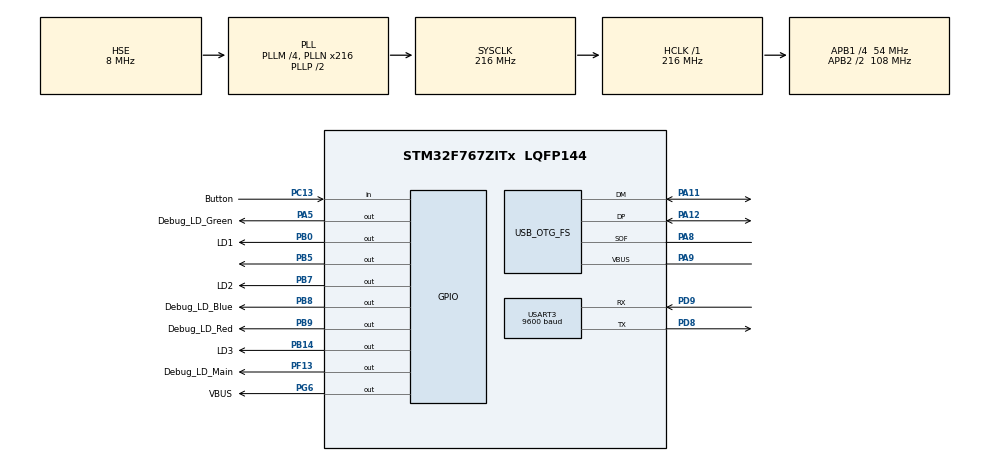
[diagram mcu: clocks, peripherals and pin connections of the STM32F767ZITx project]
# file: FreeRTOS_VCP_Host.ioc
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FREERTOS.Tasks01=USBProcessTask,1,128,StartUSBProcessTask,Default,NULL,Dynamic,NULL,NULL;TransmitTask,-1,128,StartTransmitTask,Default,NULL,Dynamic,NULL,NULL;ReceiveTask,0,128,StartReceiveTask,Default,NULL,Dynamic,NULL,NULL
FREERTOS.configUSE_NEWLIB_REENTRANT=1
Mcu.Family=STM32F7
Mcu.Name=STM32F767ZITx
Mcu.Package=LQFP144
NVIC.OTG_FS_IRQn=true\:5\:0\:false\:false\:true\:true\:false\:true\:true
NVIC.PriorityGroup=NVIC_PRIORITYGROUP_4
NVIC.RCC_IRQn=true\:5\:0\:false\:false\:true\:true\:true\:false\:true
NVIC.TIM6_DAC_IRQn=true\:15\:0\:false\:false\:true\:false\:false\:true\:true
NVIC.TimeBase=TIM6_DAC_IRQn
NVIC.TimeBaseIP=TIM6
PA11.Mode=Host_Only
PA11.Signal=USB_OTG_FS_DM
PA12.Mode=Host_Only
PA12.Signal=USB_OTG_FS_DP
PA13.Mode=Serial_Wire
PA13.Signal=SYS_JTMS-SWDIO
PA14.Mode=Serial_Wire
PA14.Signal=SYS_JTCK-SWCLK
PA5.GPIO_Label=Debug_LD_Green
PA5.Signal=GPIO_Output
PA8.Mode=Activate_SOF_FS
PA8.Signal=USB_OTG_FS_SOF
PA9.Mode=Activate_VBUS
PA9.Signal=USB_OTG_FS_VBUS
PB0.GPIO_Label=LD1
PB0.Signal=GPIO_Output
PB14.GPIO_Label=LD3
PB14.Signal=GPIO_Output
PB5.Signal=GPIO_Output
PB7.GPIO_Label=LD2
PB7.Signal=GPIO_Output
PB8.GPIO_Label=Debug_LD_Blue
PB8.Signal=GPIO_Output
PB9.GPIO_Label=Debug_LD_Red
PB9.Signal=GPIO_Output
PC13.GPIO_Label=Button
PC13.Signal=GPIO_Input
PD8.Mode=Asynchronous
PD8.Signal=USART3_TX
PD9.Mode=Asynchronous
PD9.Signal=USART3_RX
PF13.GPIO_Label=Debug_LD_Main
PF13.Signal=GPIO_Output
PG6.GPIO_Label=VBUS
PG6.Signal=GPIO_Output
PH0/OSC_IN.Mode=HSE-External-Oscillator
PH0/OSC_IN.Signal=RCC_OSC_IN
PH1/OSC_OUT.Mode=HSE-External-Oscillator
PH1/OSC_OUT.Signal=RCC_OSC_OUT
ProjectManager.HeapSize=0x200
ProjectManager.StackSize=0x400
ProjectManager.TargetToolchain=STM32CubeIDE
RCC.48MHZClocksFreq_Value=24000000
RCC.AHBFreq_Value=216000000
RCC.APB1CLKDivider=RCC_HCLK_DIV4
RCC.APB1Freq_Value=54000000
RCC.APB1TimFreq_Value=108000000
RCC.APB2CLKDivider=RCC_HCLK_DIV2
RCC.APB2Freq_Value=108000000
RCC.APB2TimFreq_Value=216000000
RCC.CortexFreq_Value=216000000
RCC.HCLKFreq_Value=216000000
RCC.HSE_VALUE=8000000
RCC.HSI_VALUE=16000000
RCC.LSE_VALUE=32768
RCC.PLLM=4
RCC.PLLMUL=RCC_PLL_MUL9
RCC.PLLN=216
RCC.PLLQ=9
RCC.PRESCALERUSB=RCC_USBCLKSOURCE_PLL_DIV1_5
RCC.SYSCLKFreq_VALUE=216000000
RCC.SYSCLKSource=RCC_SYSCLKSOURCE_PLLCLK
RCC.SYSCLKSourceVirtual=RCC_SYSCLKSOURCE_PLLCLK
RCC.USBFreq_Value=48000000
RCC.VCOOutputFreq_Value=432000000
USART3.BaudRate=9600
USART3.VirtualMode-Asynchronous=VM_ASYNC
USB_HOST.BSP.number=1
USB_HOST.USBH_HandleTypeDef-CDC_FS=hUsbHostFS
USB_HOST.USBH_USE_OS-CDC_FS=0
USB_HOST.VirtualModeFS=Cdc
USB_HOST0.BSP.STBoard=false
USB_HOST0.BSP.api=Unknown
USB_HOST0.BSP.condition=SW_VBUS_DRIVE_CDC_FS \= false
USB_HOST0.BSP.instance=PG6
USB_HOST0.BSP.ip=GPIO
USB_HOST0.BSP.mode=Output
USB_HOST0.BSP.name=Drive_VBUS_FS
USB_HOST0.BSP.solution=PG6
USB_OTG_FS.VirtualMode=Host_Only
USB_OTG_FS.phy_itface=HCD_PHY_EMBEDDED
VP_FREERTOS_VS_CMSIS_V1.Mode=CMSIS_V1
VP_SYS_VS_tim6.Mode=TIM6
VP_USB_HOST_VS_USB_HOST_CDC_FS.Mode=CDC_FS
board=NUCLEO-F767ZI

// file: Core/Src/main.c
/* USER CODE BEGIN Header */
/**
  ******************************************************************************
  * @file           : main.c
  * @brief          : Main program body
  ******************************************************************************
  * @attention
  *
  * Copyright (c) 2024 STMicroelectronics.
  * All rights reserved.
  *
  * This software is licensed under terms that can be found in the LICENSE file
  * in the root directory of this software component.
  * If no LICENSE file comes with this software, it is provided AS-IS.
  *
  ******************************************************************************
  */
/* USER CODE END Header */
#include "main.h"
#include "cmsis_os.h"
#include "usb_host.h"

/* USER CODE BEGIN Includes */
#include <string.h>
#include <stdio.h>
#include <stdarg.h>
#include "usbh_core.h"
#include "usbh_cdc.h"
#include "usbh_cp2105.h"
#include "FreeRTOS.h"
#include "task.h"
/* USER CODE END Includes */

UART_HandleTypeDef huart3;

osThreadId USBProcessTaskHandle;
osThreadId TransmitTaskHandle;
osThreadId ReceiveTaskHandle;
/* USER CODE BEGIN PV */

char Uart_Buf[100];
extern USBH_HandleTypeDef hUsbHostFS;
extern ApplicationTypeDef Appli_state;

#define RX_BUFFER_SIZE 32
CP2105_StateTypeDef CP2105_State = CP2105_IDLE_STATE;

static uint8_t rx_buffer[RX_BUFFER_SIZE];
static uint8_t tx_buffer[] = "Hello World\r\n";
static uint8_t transmitting = 0;
static uint8_t receiving = 0;
static uint8_t setBaudRateFlag = 1;
uint32_t new_baud_rate = 9600; // Default baud rate

/* USER CODE END PV */

void SystemClock_Config(void);
static void MX_GPIO_Init(void);
static void MX_USART3_UART_Init(void);
void StartUSBProcessTask(void const * argument);
void StartTransmitTask(void const * argument);
void StartReceiveTask(void const * argument);

/* USER CODE BEGIN PFP */
const char* getAppliStateName(ApplicationTypeDef state);
void print_application_state(ApplicationTypeDef state);

/* USER CODE END PFP */

/* USER CODE BEGIN 0 */
void UART_Printf(const char *fmt, ...) {
    char buffer[128];
    va_list args;
    va_start(args, fmt);
    vsnprintf(buffer, sizeof(buffer), fmt, args);
    va_end(args);

    HAL_UART_Transmit(&huart3, (uint8_t *)buffer, strlen(buffer), HAL_MAX_DELAY);
    HAL_UART_Transmit(&huart3, (uint8_t *)"\r\n", 2, HAL_MAX_DELAY);
}

const char* getAppliStateName(ApplicationTypeDef state) {
    switch (state) {
        case APPLICATION_IDLE: return "APPLICATION_IDLE";
        case APPLICATION_START: return "APPLICATION_START";
        case APPLICATION_READY: return "APPLICATION_READY";
        case APPLICATION_DISCONNECT: return "APPLICATION_DISCONNECT";
        default: return "UNKNOWN_STATE";
    }
}
void print_application_state(ApplicationTypeDef state) {
    // Create the main application state message
    sprintf(Uart_Buf, "Application State: %s\n", getAppliStateName(state));
    int len = strlen(Uart_Buf);
    HAL_UART_Transmit(&huart3, (uint8_t *)Uart_Buf, len, 1000);

    // Add an extra new line for separation between subsequent calls
    const char newline[] = "\r\n";
    HAL_UART_Transmit(&huart3, (uint8_t *)newline, sizeof(newline) - 1, 100);
}

void process_received_data(uint8_t* data, uint32_t length) {
    data[length] = '\0';  // Null-terminate the received data

    sprintf(Uart_Buf, "Received data: %s", data);
    int len = strlen(Uart_Buf);
    HAL_UART_Transmit(&huart3, (uint8_t *)Uart_Buf, len, 1000);

    const char newline[] = "\r\n";
    HAL_UART_Transmit(&huart3, (uint8_t *)newline, sizeof(newline) - 1, 100);
}
osMutexId usbMutexHandle;

/* USER CODE END 0 */

int main(void)
{

  /* MCU Configuration--------------------------------------------------------*/

  /* Reset of all peripherals, Initializes the Flash interface and the Systick. */
  HAL_Init();

  /* Configure the system clock */
  SystemClock_Config();

  /* Initialize all configured peripherals */
  MX_GPIO_Init();
  MX_USART3_UART_Init();
  /* USER CODE BEGIN 2 */
  HAL_GPIO_WritePin(GPIOB, LD1_Pin, GPIO_PIN_RESET); //
  HAL_GPIO_WritePin(GPIOB, LD3_Pin, GPIO_PIN_RESET); //
  HAL_GPIO_WritePin(GPIOB, LD2_Pin, GPIO_PIN_RESET); //
  /* USER CODE END 2 */

  /* Create the thread(s) */
  /* definition and creation of USBProcessTask */
  /* USB Process Task - Highest Priority */
  osThreadDef(USBProcessTask, StartUSBProcessTask, osPriorityRealtime, 0, 512);
  USBProcessTaskHandle = osThreadCreate(osThread(USBProcessTask), NULL);

  /* Receive Task - High Priority */
  osThreadDef(ReceiveTask, StartReceiveTask, osPriorityHigh, 0, 512);
  ReceiveTaskHandle = osThreadCreate(osThread(ReceiveTask), NULL);

  /* Transmit Task - Normal Priority */
  osThreadDef(TransmitTask, StartTransmitTask, osPriorityNormal, 0, 512);
  TransmitTaskHandle = osThreadCreate(osThread(TransmitTask), NULL);

  /* USER CODE BEGIN RTOS_THREADS */
  /* add threads, ... */
  osMutexDef(usbMutex);
  usbMutexHandle = osMutexCreate(osMutex(usbMutex));

  /* USER CODE END RTOS_THREADS */
  HAL_GPIO_WritePin(GPIOF, Debug_LD_Main_Pin, GPIO_PIN_SET);
  /* Start scheduler */
  osKernelStart();

  /* We should never get here as control is now taken by the scheduler */

  /* Infinite loop */
  while (1)
  {

  }
}

void SystemClock_Config(void)
{
  RCC_OscInitTypeDef RCC_OscInitStruct = {0};
  RCC_ClkInitTypeDef RCC_ClkInitStruct = {0};

  /** Configure the main internal regulator output voltage
  */
  __HAL_RCC_PWR_CLK_ENABLE();
  __HAL_PWR_VOLTAGESCALING_CONFIG(PWR_REGULATOR_VOLTAGE_SCALE1);

  /** Initializes the RCC Oscillators according to the specified parameters
  * in the RCC_OscInitTypeDef structure.
  */
  RCC_OscInitStruct.OscillatorType = RCC_OSCILLATORTYPE_HSE;
  RCC_OscInitStruct.HSEState = RCC_HSE_ON;
  RCC_OscInitStruct.PLL.PLLState = RCC_PLL_ON;
  RCC_OscInitStruct.PLL.PLLSource = RCC_PLLSOURCE_HSE;
  RCC_OscInitStruct.PLL.PLLM = 4;
  RCC_OscInitStruct.PLL.PLLN = 216;
  RCC_OscInitStruct.PLL.PLLP = RCC_PLLP_DIV2;
  RCC_OscInitStruct.PLL.PLLQ = 9;
  RCC_OscInitStruct.PLL.PLLR = 2;
  if (HAL_RCC_OscConfig(&RCC_OscInitStruct) != HAL_OK)
  {
    Error_Handler();
  }

  /** Activate the Over-Drive mode
  */
  if (HAL_PWREx_EnableOverDrive() != HAL_OK)
  {
    Error_Handler();
  }

  /** Initializes the CPU, AHB and APB buses clocks
  */
  RCC_ClkInitStruct.ClockType = RCC_CLOCKTYPE_HCLK|RCC_CLOCKTYPE_SYSCLK
                              |RCC_CLOCKTYPE_PCLK1|RCC_CLOCKTYPE_PCLK2;
  RCC_ClkInitStruct.SYSCLKSource = RCC_SYSCLKSOURCE_PLLCLK;
  RCC_ClkInitStruct.AHBCLKDivider = RCC_SYSCLK_DIV1;
  RCC_ClkInitStruct.APB1CLKDivider = RCC_HCLK_DIV4;
  RCC_ClkInitStruct.APB2CLKDivider = RCC_HCLK_DIV2;

  if (HAL_RCC_ClockConfig(&RCC_ClkInitStruct, FLASH_LATENCY_7) != HAL_OK)
  {
    Error_Handler();
  }
}

static void MX_USART3_UART_Init(void)
{

  huart3.Instance = USART3;
  huart3.Init.BaudRate = 115200;
  huart3.Init.WordLength = UART_WORDLENGTH_8B;
  huart3.Init.StopBits = UART_STOPBITS_1;
  huart3.Init.Parity = UART_PARITY_NONE;
  huart3.Init.Mode = UART_MODE_TX_RX;
  huart3.Init.HwFlowCtl = UART_HWCONTROL_NONE;
  huart3.Init.OverSampling = UART_OVERSAMPLING_16;
  huart3.Init.OneBitSampling = UART_ONE_BIT_SAMPLE_DISABLE;
  huart3.AdvancedInit.AdvFeatureInit = UART_ADVFEATURE_NO_INIT;
  if (HAL_UART_Init(&huart3) != HAL_OK)
  {
    Error_Handler();
  }

}

static void MX_GPIO_Init(void)
{
  GPIO_InitTypeDef GPIO_InitStruct = {0};

  /* GPIO Ports Clock Enable */
  __HAL_RCC_GPIOC_CLK_ENABLE();
  __HAL_RCC_GPIOH_CLK_ENABLE();
  __HAL_RCC_GPIOA_CLK_ENABLE();
  __HAL_RCC_GPIOB_CLK_ENABLE();
  __HAL_RCC_GPIOF_CLK_ENABLE();
  __HAL_RCC_GPIOD_CLK_ENABLE();
  __HAL_RCC_GPIOG_CLK_ENABLE();

  /*Configure GPIO pin Output Level */
  HAL_GPIO_WritePin(Debug_LD_Green_GPIO_Port, Debug_LD_Green_Pin, GPIO_PIN_RESET);

  /*Configure GPIO pin Output Level */
  HAL_GPIO_WritePin(GPIOB, LD1_Pin|LD3_Pin|GPIO_PIN_5|LD2_Pin
                          |Debug_LD_Blue_Pin|Debug_LD_Red_Pin, GPIO_PIN_RESET);

  /*Configure GPIO pin Output Level */
  HAL_GPIO_WritePin(Debug_LD_Main_GPIO_Port, Debug_LD_Main_Pin, GPIO_PIN_RESET);

  /*Configure GPIO pin Output Level */
  HAL_GPIO_WritePin(VBUS_GPIO_Port, VBUS_Pin, GPIO_PIN_RESET);

  /*Configure GPIO pin : Button_Pin */
  GPIO_InitStruct.Pin = Button_Pin;
  GPIO_InitStruct.Mode = GPIO_MODE_INPUT;
  GPIO_InitStruct.Pull = GPIO_NOPULL;
  HAL_GPIO_Init(Button_GPIO_Port, &GPIO_InitStruct);

  /*Configure GPIO pin : Debug_LD_Green_Pin */
  GPIO_InitStruct.Pin = Debug_LD_Green_Pin;
  GPIO_InitStruct.Mode = GPIO_MODE_OUTPUT_PP;
  GPIO_InitStruct.Pull = GPIO_NOPULL;
  GPIO_InitStruct.Speed = GPIO_SPEED_FREQ_LOW;
  HAL_GPIO_Init(Debug_LD_Green_GPIO_Port, &GPIO_InitStruct);

  /*Configure GPIO pins : LD1_Pin LD3_Pin PB5 LD2_Pin
                           Debug_LD_Blue_Pin Debug_LD_Red_Pin */
  GPIO_InitStruct.Pin = LD1_Pin|LD3_Pin|GPIO_PIN_5|LD2_Pin
                          |Debug_LD_Blue_Pin|Debug_LD_Red_Pin;
  GPIO_InitStruct.Mode = GPIO_MODE_OUTPUT_PP;
  GPIO_InitStruct.Pull = GPIO_NOPULL;
  GPIO_InitStruct.Speed = GPIO_SPEED_FREQ_LOW;
  HAL_GPIO_Init(GPIOB, &GPIO_InitStruct);

  /*Configure GPIO pin : Debug_LD_Main_Pin */
  GPIO_InitStruct.Pin = Debug_LD_Main_Pin;
  GPIO_InitStruct.Mode = GPIO_MODE_OUTPUT_PP;
  GPIO_InitStruct.Pull = GPIO_NOPULL;
  GPIO_InitStruct.Speed = GPIO_SPEED_FREQ_LOW;
  HAL_GPIO_Init(Debug_LD_Main_GPIO_Port, &GPIO_InitStruct);

  /*Configure GPIO pin : VBUS_Pin */
  GPIO_InitStruct.Pin = VBUS_Pin;
  GPIO_InitStruct.Mode = GPIO_MODE_OUTPUT_PP;
  GPIO_InitStruct.Pull = GPIO_NOPULL;
  GPIO_InitStruct.Speed = GPIO_SPEED_FREQ_LOW;
  HAL_GPIO_Init(VBUS_GPIO_Port, &GPIO_InitStruct);

}

void StartUSBProcessTask(void const * argument)
{
  /* init code for USB_HOST */
  MX_USB_HOST_Init();
  /* USER CODE BEGIN 5 */
  /* Infinite loop */
  for(;;)
  {
    if (osMutexWait(usbMutexHandle, 1000) == osOK) {  // Wait for 1000 ticks (1 second)
      HAL_GPIO_WritePin(GPIOB, Debug_LD_Blue_Pin, GPIO_PIN_SET);
      USBH_Process(&hUsbHostFS);

      switch (Appli_state) {
        case APPLICATION_START:
          HAL_GPIO_WritePin(GPIOB, LD1_Pin, GPIO_PIN_SET); // Turn on LD1
          HAL_GPIO_WritePin(GPIOB, LD2_Pin, GPIO_PIN_RESET);   // Ensure LD2 is off
          HAL_GPIO_WritePin(GPIOB, LD3_Pin, GPIO_PIN_RESET);   // Ensure LD3 is off
          break;
        case APPLICATION_READY:
          HAL_GPIO_WritePin(GPIOB, LD1_Pin, GPIO_PIN_RESET);   // Ensure LD1 is off
          HAL_GPIO_WritePin(GPIOB, LD2_Pin, GPIO_PIN_SET); // Turn on LD2
          HAL_GPIO_WritePin(GPIOB, LD3_Pin, GPIO_PIN_RESET);   // Ensure LD3 is off

          uint8_t port_selected = CP2105_SCI_PORT;
          CP2105_HandleTypeDef *handle = (CP2105_HandleTypeDef *)hUsbHostFS.pActiveClass->pData;
          if (handle->data_received_flag[port_selected]) {
            process_received_data(rx_buffer, RX_BUFFER_SIZE);
//            osDelay(50);
            handle->data_received_flag[port_selected] = 0; // Reset the flag
          }

          break;
        case APPLICATION_DISCONNECT:
          HAL_GPIO_WritePin(GPIOB, LD1_Pin, GPIO_PIN_RESET);   // Ensure LD1 is off
          HAL_GPIO_WritePin(GPIOB, LD2_Pin, GPIO_PIN_RESET);   // Ensure LD2 is off
          HAL_GPIO_WritePin(GPIOB, LD3_Pin, GPIO_PIN_SET); // Turn on LD3
          break;
        default:
          HAL_GPIO_WritePin(GPIOB, LD1_Pin, GPIO_PIN_RESET);
          HAL_GPIO_WritePin(GPIOB, LD2_Pin, GPIO_PIN_RESET);
          HAL_GPIO_WritePin(GPIOB, LD3_Pin, GPIO_PIN_RESET);
          break;
      }
      HAL_GPIO_WritePin(GPIOB, Debug_LD_Blue_Pin, GPIO_PIN_RESET);

      osMutexRelease(usbMutexHandle);
    }

    osDelay(1);
  }
  /* USER CODE END 5 */
}

void StartTransmitTask(void const * argument)
{
  /* USER CODE BEGIN StartTransmitTask */
  /* Infinite loop */
  for(;;)
  {
    HAL_GPIO_WritePin(GPIOB, Debug_LD_Red_Pin, GPIO_PIN_SET);
    if (Appli_state == APPLICATION_READY) {
      if (osMutexWait(usbMutexHandle, 1000) == osOK) {  // Wait for 1000 ticks (1 second)
        uint8_t port_selected = CP2105_SCI_PORT;
        USBH_StatusTypeDef result = USBH_CP2105_Transmit(&hUsbHostFS, tx_buffer, strlen((char*)tx_buffer), port_selected);
        osMutexRelease(usbMutexHandle);
      } else {
        UART_Printf("StartTransmitTask: Failed to acquire mutex within timeout");
//        osDelay(1000);
      }
    }
    HAL_GPIO_WritePin(GPIOB, Debug_LD_Red_Pin, GPIO_PIN_RESET);
    osDelay(1000);
  }
  /* USER CODE END StartTransmitTask */
}

void StartReceiveTask(void const * argument)
{
  /* USER CODE BEGIN StartReceiveTask */
  /* Infinite loop */
  for(;;)
  {
    HAL_GPIO_WritePin(GPIOA, Debug_LD_Green_Pin, GPIO_PIN_SET);
    if (Appli_state == APPLICATION_READY) {
      if (osMutexWait(usbMutexHandle, 1000) == osOK) {  // Wait for 1000 ticks (1 second)
        uint8_t port_selected = CP2105_SCI_PORT;
        USBH_StatusTypeDef result = USBH_CP2105_Receive(&hUsbHostFS, rx_buffer, RX_BUFFER_SIZE, port_selected);
        osMutexRelease(usbMutexHandle);
      } else {
        UART_Printf("StartReceiveTask: Failed to acquire mutex within timeout");
      }
    }
    HAL_GPIO_WritePin(GPIOA, Debug_LD_Green_Pin, GPIO_PIN_RESET);
    osDelay(1);
  }
  /* USER CODE END StartReceiveTask */
}

void HAL_TIM_PeriodElapsedCallback(TIM_HandleTypeDef *htim)
{
  if (htim->Instance == TIM6) {
    HAL_IncTick();
  }
}

void Error_Handler(void)
{
  __disable_irq();
  while (1)
  {
  }
}
